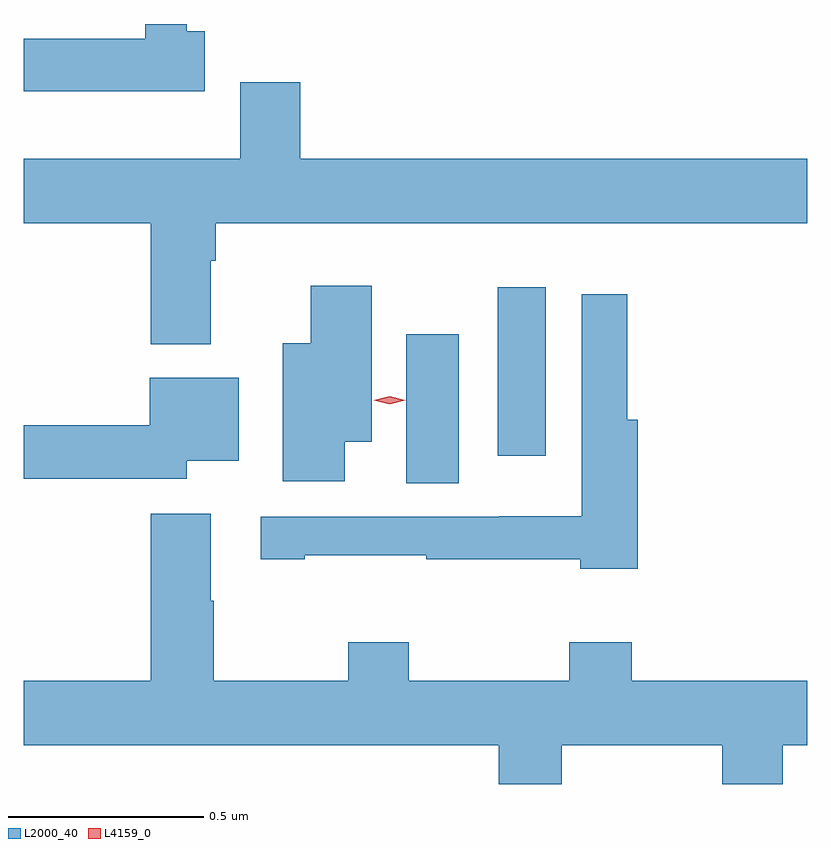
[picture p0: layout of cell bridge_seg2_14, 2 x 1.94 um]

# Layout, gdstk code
import gdstk
lib = gdstk.Library(unit=1e-6, precision=1e-09)
def R(c, l, rs):  # rectangles x0, y0, x1, y1
    for r in rs: c.add(gdstk.rectangle(r[:2], r[2:], *l))
def P(c, l, *ps):  # polygons
    for p in ps: c.add(gdstk.Polygon(p, *l))
L2000_40 = (2000, 40)
L4159_0 = (4159, 0)

bridge_seg2_14 = lib.new_cell('bridge_seg2_14')
R(bridge_seg2_14, L2000_40, [(809.15,613.672,809.284,614.053), (809.384,613.743,809.506,614.173)])
P(bridge_seg2_14, L2000_40, [(808.636,614.826),(808.591,614.826),(808.591,614.844),(808.484,614.844),(808.484,614.806),(808.174,614.806),(808.174,614.672),(808.636,614.672)],
  [(808.651,614.24),(808.664,614.24),(808.664,614.336),(810.174,614.336),(810.174,614.5),(808.88,614.5),(808.88,614.695),(808.727,614.695),(808.727,614.5),(808.174,614.5),(808.174,614.336),(808.499,614.336),(808.499,614.027),(808.651,614.027)],
  [(808.993,613.778),(809.062,613.778),(809.062,614.176),(808.907,614.176),(808.907,614.029),(808.835,614.029),(808.835,613.677),(808.993,613.677)],
  [(809.741,613.834),(809.714,613.834),(809.714,614.155),(809.598,614.155),(809.598,613.588),(809.388,613.588),(809.388,613.587),(808.779,613.587),(808.779,613.479),(808.891,613.479),(808.891,613.489),(809.201,613.489),(809.201,613.479),(809.594,613.479),(809.594,613.454),(809.741,613.454)],
  [(808.59,613.73),(808.723,613.73),(808.723,613.942),(808.496,613.942),(808.496,613.82),(808.174,613.82),(808.174,613.684),(808.59,613.684)],
  [(809.547,613.004),(809.956,613.004),(809.956,612.905),(810.111,612.905),(810.111,613.004),(810.174,613.004),(810.174,613.168),(809.726,613.168),(809.726,613.267),(809.566,613.267),(809.566,613.168),(809.157,613.168),(809.157,613.267),(809.002,613.267),(809.002,613.168),(808.659,613.168),(808.659,613.373),(808.651,613.373),(808.651,613.594),(808.499,613.594),(808.499,613.168),(808.174,613.168),(808.174,613.004),(809.387,613.004),(809.387,612.905),(809.547,612.905)])
P(bridge_seg2_14, L4159_0, [(809.108,613.874),(809.067,613.884),(809.067,613.884),(809.067,613.884),(809.108,613.894),(809.148,613.884),(809.148,613.884),(809.148,613.884)])

lib.write_gds('bridge_seg2_14.gds')
